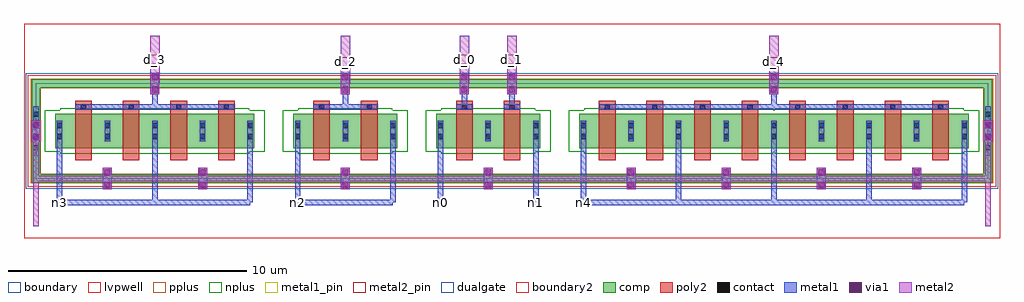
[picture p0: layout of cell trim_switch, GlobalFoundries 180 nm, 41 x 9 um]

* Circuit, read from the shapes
.subckt trim_switch d_0 d_1 d_2 d_3 d_4 n0 n1 n2 n3 n4
XM1 n5 d_3 n3 VSUBS nfet_06v0 w=1.44u l=0.7u m=2
XM2 n6 d_3 n3 VSUBS nfet_06v0 w=1.44u l=0.7u m=2
XM3 n7 d_2 n2 VSUBS nfet_06v0 w=1.44u l=0.7u m=2
XM4 n8 d_0 n0 VSUBS nfet_06v0 w=1.44u l=0.7u
XM5 n1 d_1 n8 VSUBS nfet_06v0 w=1.44u l=0.7u
XM6 n9 d_4 n4 VSUBS nfet_06v0 w=1.44u l=0.7u m=2
XM7 n10 d_4 n4 VSUBS nfet_06v0 w=1.44u l=0.7u m=2
XM8 n11 d_4 n4 VSUBS nfet_06v0 w=1.44u l=0.7u m=2
XM9 n12 d_4 n4 VSUBS nfet_06v0 w=1.44u l=0.7u m=2
.ends

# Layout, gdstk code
import gdstk
lib = gdstk.Library(unit=1e-6, precision=1e-09)
def R(c, l, rs):  # rectangles x0, y0, x1, y1
    for r in rs: c.add(gdstk.rectangle(r[:2], r[2:], *l))
def A(c, l, x, y, w, h, nx, ny, dx, dy):  # array of equal rectangles
    R(c, l, [(x+i*dx, y+j*dy, x+i*dx+w, y+j*dy+h) for i in range(nx) for j in range(ny)])
boundary = (0, 0)
comp = (22, 0)
poly2 = (30, 0)
pplus = (31, 0)
nplus = (32, 0)
contact = (33, 0)
metal1 = (34, 0)
metal1_pin = (34, 10)
via1 = (35, 0)
metal2 = (36, 0)
metal2_pin = (36, 10)
dualgate = (55, 0)
boundary2 = (63, 0)
lvpwell = (204, 0)

xm0_trims = lib.new_cell('XM0_trims')
R(xm0_trims, boundary, [(-2,-2,2,2)])
R(xm0_trims, comp, [(-2.18,-2.18,2.18,-1.82), (-1.18,-0.72,1.18,0.72), (-2.18,1.82,2.18,2.18)])
R(xm0_trims, poly2, [(-0.35,-1.279,0.35,1.235)])
R(xm0_trims, pplus, [(-2.21,-2.2,2.21,-1.8), (-2.21,1.8,2.21,2.2)])
R(xm0_trims, nplus, [(-0.97,-0.95,1,-0.88), (-1.62,-0.88,1.62,0.88), (-0.97,0.88,1,0.95)])
R(xm0_trims, contact, [(-0.11,-1.11,0.11,-0.89), (-1.11,-0.345,-0.89,-0.125), (0.89,-0.345,1.11,-0.125), (-1.11,0.125,-0.89,0.345), (0.89,0.125,1.11,0.345)])
R(xm0_trims, metal1, [(-0.34,-1.115,0.34,-0.885), (-1.115,-0.435,-0.885,0.435), (0.885,-0.435,1.115,0.435)])
R(xm0_trims, dualgate, [(-2.42,-2.42,2.42,2.42)])
A(xm0_trims, boundary2, -2.5, -2.5, 1, 1, 5, 5, 1, 1)
R(xm0_trims, lvpwell, [(-2.34,-2.34,2.34,2.34)])

xm1_trims = lib.new_cell('XM1_trims')
R(xm1_trims, boundary, [(-10,-2,-6,2)])
R(xm1_trims, comp, [(-10.18,-2.18,-5.82,-1.82), (-9.18,-0.72,-6.82,0.72), (-10.18,1.82,-5.82,2.18)])
R(xm1_trims, poly2, [(-8.35,-1.279,-7.65,1.235)])
R(xm1_trims, pplus, [(-10.21,-2.2,-5.79,-1.8), (-10.21,1.8,-5.79,2.2)])
R(xm1_trims, nplus, [(-9,-0.95,-7.03,-0.88), (-9.62,-0.88,-6.38,0.88), (-9,0.88,-7.03,0.95)])
R(xm1_trims, contact, [(-8.11,-1.11,-7.89,-0.89), (-9.11,-0.345,-8.89,-0.125), (-7.11,-0.345,-6.89,-0.125), (-9.11,0.125,-8.89,0.345), (-7.11,0.125,-6.89,0.345)])
R(xm1_trims, metal1, [(-8.34,-1.115,-7.66,-0.885), (-9.115,-0.435,-8.885,0.435), (-7.115,-0.435,-6.885,0.435)])
R(xm1_trims, dualgate, [(-10.42,-2.42,-5.58,2.42)])
A(xm1_trims, boundary2, -10.5, -2.5, 1, 1, 5, 5, 1, 1)
R(xm1_trims, lvpwell, [(-10.34,-2.34,-5.66,2.34)])

xm2_trims = lib.new_cell('XM2_trims')
R(xm2_trims, boundary, [(-3,-2,1,2), (-1,-2,3,2)])
R(xm2_trims, comp, [(-3.18,-2.18,1.18,-1.82), (-1.18,-2.18,3.18,-1.82), (-2.18,-0.72,0.18,0.72), (-0.18,-0.72,2.18,0.72), (-3.18,1.82,1.18,2.18), (-1.18,1.82,3.18,2.18)])
R(xm2_trims, poly2, [(-1.35,-1.279,-0.65,1.235), (0.65,-1.279,1.35,1.235)])
R(xm2_trims, pplus, [(-3.21,-2.2,1.21,-1.8), (-1.21,-2.2,3.21,-1.8), (-3.21,1.8,1.21,2.2), (-1.21,1.8,3.21,2.2)])
R(xm2_trims, nplus, [(-1.97,-0.95,0,-0.88), (0,-0.95,1.97,-0.88), (-2.62,-0.88,0.62,0.88), (-0.62,-0.88,2.62,0.88), (-1.97,0.88,0,0.95), (0,0.88,1.97,0.95)])
R(xm2_trims, contact, [(-1.11,-1.11,-0.89,-0.89), (0.89,-1.11,1.11,-0.89), (-2.11,-0.345,-1.89,-0.125), (-0.11,-0.345,0.11,-0.125), (-0.11,-0.345,0.11,-0.125), (1.89,-0.345,2.11,-0.125), (-2.11,0.125,-1.89,0.345), (-0.11,0.125,0.11,0.345), (-0.11,0.125,0.11,0.345), (1.89,0.125,2.11,0.345)])
R(xm2_trims, metal1, [(-1.34,-1.115,-0.66,-0.885), (0.66,-1.115,1.34,-0.885), (-2.115,-0.435,-1.885,0.435), (-0.115,-0.435,0.115,0.435), (-0.115,-0.435,0.115,0.435), (1.885,-0.435,2.115,0.435)])
R(xm2_trims, dualgate, [(-3.42,-2.42,1.42,2.42), (-1.42,-2.42,3.42,2.42)])
A(xm2_trims, boundary2, -3.5, -2.5, 1, 1, 3, 5, 1, 1)
A(xm2_trims, boundary2, -1.5, -2.5, 1, 1, 1, 5, 0, 1)
A(xm2_trims, boundary2, -0.5, -2.5, 1, 1, 1, 5, 0, 1)
A(xm2_trims, boundary2, -0.5, -2.5, 1, 1, 4, 5, 1, 1)
R(xm2_trims, lvpwell, [(-3.34,-2.34,1.34,2.34), (-1.34,-2.34,3.34,2.34)])

xm3_trims = lib.new_cell('XM3_trims')
A(xm3_trims, boundary, -6, -2, 4, 4, 4, 1, 2, 0)
A(xm3_trims, comp, -6.18, -2.18, 4.36, 0.36, 4, 2, 2, 4)
A(xm3_trims, comp, -5.18, -0.72, 2.36, 1.44, 4, 1, 2, 0)
R(xm3_trims, comp, [(-6.18,-1.82,-5.82,1.82)])
A(xm3_trims, poly2, -4.35, -1.279, 0.7, 2.514, 4, 1, 2, 0)
A(xm3_trims, pplus, -6.21, -2.2, 4.42, 0.4, 4, 2, 2, 4)
R(xm3_trims, pplus, [(-6.21,-1.8,-5.79,1.8)])
A(xm3_trims, nplus, -5.62, -0.88, 3.24, 1.76, 4, 1, 2, 0)
R(xm3_trims, nplus, [(-4.97,-0.95,-3,-0.88), (-3,-0.95,-1,-0.88), (-1,-0.95,1,-0.88), (1,-0.95,2.97,-0.88), (-4.97,0.88,-3,0.95), (-3,0.88,-1,0.95), (-1,0.88,1,0.95), (1,0.88,2.97,0.95)])
A(xm3_trims, contact, -4.11, -1.11, 0.22, 0.22, 4, 1, 2, 0)
A(xm3_trims, contact, -6.11, -0.815, 0.22, 0.22, 1, 4, 0, 0.47)
R(xm3_trims, contact, [(-5.11,-0.345,-4.89,-0.125), (-3.11,-0.345,-2.89,-0.125), (-3.11,-0.345,-2.89,-0.125), (-1.11,-0.345,-0.89,-0.125), (-1.11,-0.345,-0.89,-0.125), (0.89,-0.345,1.11,-0.125), (0.89,-0.345,1.11,-0.125), (2.89,-0.345,3.11,-0.125), (-5.11,0.125,-4.89,0.345), (-3.11,0.125,-2.89,0.345), (-3.11,0.125,-2.89,0.345), (-1.11,0.125,-0.89,0.345), (-1.11,0.125,-0.89,0.345), (0.89,0.125,1.11,0.345), (0.89,0.125,1.11,0.345), (2.89,0.125,3.11,0.345)])
A(xm3_trims, metal1, -4.34, -1.115, 0.68, 0.23, 4, 1, 2, 0)
R(xm3_trims, metal1, [(-6.115,-1.04,-5.885,1.04), (-5.115,-0.435,-4.885,0.435), (-3.115,-0.435,-2.885,0.435), (-3.115,-0.435,-2.885,0.435), (-1.115,-0.435,-0.885,0.435), (-1.115,-0.435,-0.885,0.435), (0.885,-0.435,1.115,0.435), (0.885,-0.435,1.115,0.435), (2.885,-0.435,3.115,0.435)])
A(xm3_trims, dualgate, -6.42, -2.42, 4.84, 4.84, 4, 1, 2, 0)
A(xm3_trims, boundary2, -6.5, -2.5, 1, 1, 3, 5, 1, 1)
A(xm3_trims, boundary2, -4.5, -2.5, 1, 1, 1, 5, 0, 1)
A(xm3_trims, boundary2, -3.5, -2.5, 1, 1, 1, 5, 0, 1)
A(xm3_trims, boundary2, -3.5, -2.5, 1, 1, 3, 5, 1, 1)
A(xm3_trims, boundary2, -1.5, -2.5, 1, 1, 1, 5, 0, 1)
A(xm3_trims, boundary2, 0.5, -2.5, 1, 1, 1, 5, 0, 1)
A(xm3_trims, boundary2, 0.5, -2.5, 1, 1, 4, 5, 1, 1)
R(xm3_trims, boundary2, [(-0.5,-2.5,0.5,-1.5), (-0.5,-2.5,0.5,-1.5), (-0.5,-1.5,0.5,-0.5), (-0.5,-1.5,0.5,-0.5), (-0.5,-0.5,0.5,0.5), (-0.5,-0.5,0.5,0.5), (-0.5,0.5,0.5,1.5), (-0.5,0.5,0.5,1.5), (-0.5,1.5,0.5,2.5), (-0.5,1.5,0.5,2.5)])
A(xm3_trims, lvpwell, -6.34, -2.34, 4.68, 4.68, 4, 1, 2, 0)

xm4_trims = lib.new_cell('XM4_trims')
A(xm4_trims, boundary, -9, -2, 4, 4, 8, 1, 2, 0)
A(xm4_trims, comp, -9.18, -2.18, 4.36, 0.36, 8, 2, 2, 4)
A(xm4_trims, comp, -8.18, -0.72, 2.36, 1.44, 8, 1, 2, 0)
R(xm4_trims, comp, [(8.82,-1.82,9.18,1.82)])
A(xm4_trims, poly2, -7.35, -1.279, 0.7, 2.514, 8, 1, 2, 0)
A(xm4_trims, pplus, -9.21, -2.2, 4.42, 0.4, 8, 2, 2, 4)
R(xm4_trims, pplus, [(8.79,-1.8,9.21,1.8)])
A(xm4_trims, nplus, -8.62, -0.88, 3.24, 1.76, 8, 1, 2, 0)
R(xm4_trims, nplus, [(-7.97,-0.95,-6,-0.88), (-6,-0.95,-4,-0.88), (-4,-0.95,-2,-0.88), (-2,-0.95,-0.03,-0.88), (0.03,-0.95,2,-0.88), (2,-0.95,4,-0.88), (4,-0.95,6,-0.88), (6,-0.95,7.97,-0.88), (-7.97,0.88,-6,0.95), (-6,0.88,-4,0.95), (-4,0.88,-2,0.95), (-2,0.88,-0.03,0.95), (0.03,0.88,2,0.95), (2,0.88,4,0.95), (4,0.88,6,0.95), (6,0.88,7.97,0.95)])
A(xm4_trims, contact, -7.11, -1.11, 0.22, 0.22, 8, 1, 2, 0)
A(xm4_trims, contact, 8.89, -0.815, 0.22, 0.22, 1, 4, 0, 0.47)
R(xm4_trims, contact, [(-8.11,-0.345,-7.89,-0.125), (-6.11,-0.345,-5.89,-0.125), (-6.11,-0.345,-5.89,-0.125), (-4.11,-0.345,-3.89,-0.125), (-4.11,-0.345,-3.89,-0.125), (-2.11,-0.345,-1.89,-0.125), (-2.11,-0.345,-1.89,-0.125), (-0.11,-0.345,0.11,-0.125), (-0.11,-0.345,0.11,-0.125), (1.89,-0.345,2.11,-0.125), (1.89,-0.345,2.11,-0.125), (3.89,-0.345,4.11,-0.125), (3.89,-0.345,4.11,-0.125), (5.89,-0.345,6.11,-0.125), (5.89,-0.345,6.11,-0.125), (7.89,-0.345,8.11,-0.125), (-8.11,0.125,-7.89,0.345), (-6.11,0.125,-5.89,0.345), (-6.11,0.125,-5.89,0.345), (-4.11,0.125,-3.89,0.345), (-4.11,0.125,-3.89,0.345), (-2.11,0.125,-1.89,0.345), (-2.11,0.125,-1.89,0.345), (-0.11,0.125,0.11,0.345), (-0.11,0.125,0.11,0.345), (1.89,0.125,2.11,0.345), (1.89,0.125,2.11,0.345), (3.89,0.125,4.11,0.345), (3.89,0.125,4.11,0.345), (5.89,0.125,6.11,0.345), (5.89,0.125,6.11,0.345), (7.89,0.125,8.11,0.345)])
A(xm4_trims, metal1, -7.34, -1.115, 0.68, 0.23, 8, 1, 2, 0)
R(xm4_trims, metal1, [(8.885,-1.04,9.115,1.04), (-8.115,-0.435,-7.885,0.435), (-6.115,-0.435,-5.885,0.435), (-6.115,-0.435,-5.885,0.435), (-4.115,-0.435,-3.885,0.435), (-4.115,-0.435,-3.885,0.435), (-2.115,-0.435,-1.885,0.435), (-2.115,-0.435,-1.885,0.435), (-0.115,-0.435,0.115,0.435), (-0.115,-0.435,0.115,0.435), (1.885,-0.435,2.115,0.435), (1.885,-0.435,2.115,0.435), (3.885,-0.435,4.115,0.435), (3.885,-0.435,4.115,0.435), (5.885,-0.435,6.115,0.435), (5.885,-0.435,6.115,0.435), (7.885,-0.435,8.115,0.435)])
A(xm4_trims, dualgate, -9.42, -2.42, 4.84, 4.84, 8, 1, 2, 0)
A(xm4_trims, boundary2, -9.5, -2.5, 1, 1, 3, 5, 1, 1)
A(xm4_trims, boundary2, -7.5, -2.5, 1, 1, 1, 5, 0, 1)
A(xm4_trims, boundary2, -6.5, -2.5, 1, 1, 1, 5, 0, 1)
A(xm4_trims, boundary2, -6.5, -2.5, 1, 1, 3, 5, 1, 1)
A(xm4_trims, boundary2, -4.5, -2.5, 1, 1, 1, 5, 0, 1)
A(xm4_trims, boundary2, 1.5, -2.5, 1, 1, 1, 5, 0, 1)
A(xm4_trims, boundary2, 1.5, -2.5, 1, 1, 3, 5, 1, 1)
A(xm4_trims, boundary2, 3.5, -2.5, 1, 1, 1, 5, 0, 1)
A(xm4_trims, boundary2, 5.5, -2.5, 1, 1, 1, 5, 0, 1)
A(xm4_trims, boundary2, 5.5, -2.5, 1, 1, 4, 5, 1, 1)
R(xm4_trims, boundary2, [(-3.5,-2.5,-2.5,-1.5), (-3.5,-2.5,-2.5,-1.5), (-2.5,-2.5,-1.5,-1.5), (-2.5,-2.5,-1.5,-1.5), (-1.5,-2.5,-0.5,-1.5), (-1.5,-2.5,-0.5,-1.5), (-0.5,-2.5,0.5,-1.5), (-0.5,-2.5,0.5,-1.5), (0.5,-2.5,1.5,-1.5), (0.5,-2.5,1.5,-1.5), (0.5,-2.5,1.5,-1.5), (4.5,-2.5,5.5,-1.5), (4.5,-2.5,5.5,-1.5), (-3.5,-1.5,-2.5,-0.5), (-3.5,-1.5,-2.5,-0.5), (-2.5,-1.5,-1.5,-0.5), (-2.5,-1.5,-1.5,-0.5), (-1.5,-1.5,-0.5,-0.5), (-1.5,-1.5,-0.5,-0.5), (-0.5,-1.5,0.5,-0.5), (-0.5,-1.5,0.5,-0.5), (0.5,-1.5,1.5,-0.5), (0.5,-1.5,1.5,-0.5), (0.5,-1.5,1.5,-0.5), (4.5,-1.5,5.5,-0.5), (4.5,-1.5,5.5,-0.5), (-3.5,-0.5,-2.5,0.5), (-3.5,-0.5,-2.5,0.5), (-2.5,-0.5,-1.5,0.5), (-2.5,-0.5,-1.5,0.5), (-1.5,-0.5,-0.5,0.5), (-1.5,-0.5,-0.5,0.5), (-0.5,-0.5,0.5,0.5), (-0.5,-0.5,0.5,0.5), (0.5,-0.5,1.5,0.5), (0.5,-0.5,1.5,0.5), (0.5,-0.5,1.5,0.5), (4.5,-0.5,5.5,0.5), (4.5,-0.5,5.5,0.5), (-3.5,0.5,-2.5,1.5), (-3.5,0.5,-2.5,1.5), (-2.5,0.5,-1.5,1.5), (-2.5,0.5,-1.5,1.5), (-1.5,0.5,-0.5,1.5), (-1.5,0.5,-0.5,1.5), (-0.5,0.5,0.5,1.5), (-0.5,0.5,0.5,1.5), (0.5,0.5,1.5,1.5), (0.5,0.5,1.5,1.5), (0.5,0.5,1.5,1.5), (4.5,0.5,5.5,1.5), (4.5,0.5,5.5,1.5), (-3.5,1.5,-2.5,2.5), (-3.5,1.5,-2.5,2.5), (-2.5,1.5,-1.5,2.5), (-2.5,1.5,-1.5,2.5), (-1.5,1.5,-0.5,2.5), (-1.5,1.5,-0.5,2.5), (-0.5,1.5,0.5,2.5), (-0.5,1.5,0.5,2.5), (0.5,1.5,1.5,2.5), (0.5,1.5,1.5,2.5), (0.5,1.5,1.5,2.5), (4.5,1.5,5.5,2.5), (4.5,1.5,5.5,2.5)])
A(xm4_trims, lvpwell, -9.34, -2.34, 4.68, 4.68, 8, 1, 2, 0)

trim_switch = lib.new_cell('trim_switch')
A(trim_switch, metal1, -0.19, -2.45, 0.38, 0.9, 4, 1, 6, 0)
A(trim_switch, metal1, 21.81, -2.45, 0.38, 0.9, 3, 1, 4, 0)
R(trim_switch, metal1, [(-4.19,-2.45,-3.81,-1.55), (-7.19,-0.45,-6.81,0.45), (32.81,-0.45,33.19,0.45), (-2.19,1.55,-1.81,2.45), (5.81,1.55,6.19,2.45), (10.81,1.55,11.19,2.45), (12.81,1.55,13.19,2.45), (23.81,1.55,24.19,2.45)])
R(trim_switch, metal1_pin, [(-6.115,-3.115,-5.885,-2.885), (3.885,-3.115,4.115,-2.885), (9.885,-3.115,10.115,-2.885), (13.885,-3.115,14.115,-2.885), (15.885,-3.115,16.115,-2.885)])
A(trim_switch, via1, -0.13, -2.39, 0.26, 0.26, 4, 2, 6, 0.52)
A(trim_switch, via1, 21.87, -2.39, 0.26, 0.26, 3, 2, 4, 0.52)
R(trim_switch, via1, [(-4.13,-2.39,-3.87,-2.13), (-4.13,-1.87,-3.87,-1.61), (-7.13,-0.39,-6.87,-0.13), (32.87,-0.39,33.13,-0.13), (-7.13,0.13,-6.87,0.39), (32.87,0.13,33.13,0.39), (-2.13,1.61,-1.87,1.87), (5.87,1.61,6.13,1.87), (10.87,1.61,11.13,1.87), (12.87,1.61,13.13,1.87), (23.87,1.61,24.13,1.87), (-2.13,2.13,-1.87,2.39), (5.87,2.13,6.13,2.39), (10.87,2.13,11.13,2.39), (12.87,2.13,13.13,2.39), (23.87,2.13,24.13,2.39)])
A(trim_switch, metal2, -0.19, -2.45, 0.38, 0.9, 4, 1, 6, 0)
A(trim_switch, metal2, 21.81, -2.45, 0.38, 0.9, 3, 1, 4, 0)
R(trim_switch, metal2, [(-4.19,-2.45,-3.81,-1.55), (-7.19,-0.45,-6.81,0.45), (32.81,-0.45,33.19,0.45), (-2.19,1.55,-1.81,2.45), (5.81,1.55,6.19,2.45), (10.81,1.55,11.19,2.45), (12.81,1.55,13.19,2.45), (23.81,1.55,24.19,2.45)])
R(trim_switch, metal2_pin, [(5.8,2.7,6.2,3.1), (23.8,2.7,24.2,3.1), (-2.2,2.8,-1.8,3.2), (10.8,2.8,11.2,3.2), (12.8,2.8,13.2,3.2)])
A(trim_switch, boundary2, -7.5, -4.5, 1, 1, 3, 2, 1, 1)
A(trim_switch, boundary2, -4.5, -4.5, 1, 1, 3, 2, 1, 1)
A(trim_switch, boundary2, -0.5, -4.5, 1, 1, 4, 2, 1, 1)
A(trim_switch, boundary2, 2.5, -4.5, 1, 1, 3, 2, 1, 1)
A(trim_switch, boundary2, 5.5, -4.5, 1, 1, 4, 2, 1, 1)
A(trim_switch, boundary2, 8.5, -4.5, 1, 1, 3, 2, 1, 1)
A(trim_switch, boundary2, 12.5, -4.5, 1, 1, 3, 2, 1, 1)
A(trim_switch, boundary2, 14.5, -4.5, 1, 1, 3, 2, 1, 1)
A(trim_switch, boundary2, 17.5, -4.5, 1, 1, 3, 2, 1, 1)
A(trim_switch, boundary2, 25.5, -4.5, 1, 1, 3, 2, 1, 1)
A(trim_switch, boundary2, 29.5, -4.5, 1, 1, 4, 2, 1, 1)
A(trim_switch, boundary2, -7.5, 2.5, 1, 1, 3, 2, 1, 1)
A(trim_switch, boundary2, -4.5, 2.5, 1, 1, 3, 2, 1, 1)
A(trim_switch, boundary2, -0.5, 2.5, 1, 1, 4, 2, 1, 1)
A(trim_switch, boundary2, 2.5, 2.5, 1, 1, 3, 2, 1, 1)
A(trim_switch, boundary2, 5.5, 2.5, 1, 1, 4, 2, 1, 1)
A(trim_switch, boundary2, 8.5, 2.5, 1, 1, 3, 2, 1, 1)
A(trim_switch, boundary2, 12.5, 2.5, 1, 1, 3, 2, 1, 1)
A(trim_switch, boundary2, 14.5, 2.5, 1, 1, 3, 2, 1, 1)
A(trim_switch, boundary2, 17.5, 2.5, 1, 1, 3, 2, 1, 1)
A(trim_switch, boundary2, 25.5, 2.5, 1, 1, 3, 2, 1, 1)
A(trim_switch, boundary2, 29.5, 2.5, 1, 1, 4, 2, 1, 1)
R(trim_switch, boundary2, [(-5.5,-4.5,-4.5,-3.5), (-4.5,-4.5,-3.5,-3.5), (-2.5,-4.5,-1.5,-3.5), (-1.5,-4.5,-0.5,-3.5), (-1.5,-4.5,-0.5,-3.5), (-0.5,-4.5,0.5,-3.5), (4.5,-4.5,5.5,-3.5), (5.5,-4.5,6.5,-3.5), (10.5,-4.5,11.5,-3.5), (11.5,-4.5,12.5,-3.5), (11.5,-4.5,12.5,-3.5), (12.5,-4.5,13.5,-3.5), (16.5,-4.5,17.5,-3.5), (17.5,-4.5,18.5,-3.5), (19.5,-4.5,20.5,-3.5), (20.5,-4.5,21.5,-3.5), (20.5,-4.5,21.5,-3.5), (21.5,-4.5,22.5,-3.5), (21.5,-4.5,22.5,-3.5), (22.5,-4.5,23.5,-3.5), (22.5,-4.5,23.5,-3.5), (23.5,-4.5,24.5,-3.5), (23.5,-4.5,24.5,-3.5), (24.5,-4.5,25.5,-3.5), (24.5,-4.5,25.5,-3.5), (24.5,-4.5,25.5,-3.5), (25.5,-4.5,26.5,-3.5), (27.5,-4.5,28.5,-3.5), (28.5,-4.5,29.5,-3.5), (28.5,-4.5,29.5,-3.5), (29.5,-4.5,30.5,-3.5), (-5.5,-3.5,-4.5,-2.5), (-4.5,-3.5,-3.5,-2.5), (-2.5,-3.5,-1.5,-2.5), (-1.5,-3.5,-0.5,-2.5), (-1.5,-3.5,-0.5,-2.5), (-0.5,-3.5,0.5,-2.5), (4.5,-3.5,5.5,-2.5), (5.5,-3.5,6.5,-2.5), (10.5,-3.5,11.5,-2.5), (11.5,-3.5,12.5,-2.5), (11.5,-3.5,12.5,-2.5), (12.5,-3.5,13.5,-2.5), (16.5,-3.5,17.5,-2.5), (17.5,-3.5,18.5,-2.5), (19.5,-3.5,20.5,-2.5), (20.5,-3.5,21.5,-2.5), (20.5,-3.5,21.5,-2.5), (21.5,-3.5,22.5,-2.5), (21.5,-3.5,22.5,-2.5), (22.5,-3.5,23.5,-2.5), (22.5,-3.5,23.5,-2.5), (23.5,-3.5,24.5,-2.5), (23.5,-3.5,24.5,-2.5), (24.5,-3.5,25.5,-2.5), (24.5,-3.5,25.5,-2.5), (24.5,-3.5,25.5,-2.5), (25.5,-3.5,26.5,-2.5), (27.5,-3.5,28.5,-2.5), (28.5,-3.5,29.5,-2.5), (28.5,-3.5,29.5,-2.5), (29.5,-3.5,30.5,-2.5), (-5.5,2.5,-4.5,3.5), (-4.5,2.5,-3.5,3.5), (-2.5,2.5,-1.5,3.5), (-1.5,2.5,-0.5,3.5), (-1.5,2.5,-0.5,3.5), (-0.5,2.5,0.5,3.5), (4.5,2.5,5.5,3.5), (5.5,2.5,6.5,3.5), (10.5,2.5,11.5,3.5), (11.5,2.5,12.5,3.5), (11.5,2.5,12.5,3.5), (12.5,2.5,13.5,3.5), (16.5,2.5,17.5,3.5), (17.5,2.5,18.5,3.5), (19.5,2.5,20.5,3.5), (20.5,2.5,21.5,3.5), (20.5,2.5,21.5,3.5), (21.5,2.5,22.5,3.5), (21.5,2.5,22.5,3.5), (22.5,2.5,23.5,3.5), (22.5,2.5,23.5,3.5), (23.5,2.5,24.5,3.5), (23.5,2.5,24.5,3.5), (24.5,2.5,25.5,3.5), (24.5,2.5,25.5,3.5), (24.5,2.5,25.5,3.5), (25.5,2.5,26.5,3.5), (27.5,2.5,28.5,3.5), (28.5,2.5,29.5,3.5), (28.5,2.5,29.5,3.5), (29.5,2.5,30.5,3.5), (-5.5,3.5,-4.5,4.5), (-4.5,3.5,-3.5,4.5), (-2.5,3.5,-1.5,4.5), (-1.5,3.5,-0.5,4.5), (-1.5,3.5,-0.5,4.5), (-0.5,3.5,0.5,4.5), (4.5,3.5,5.5,4.5), (5.5,3.5,6.5,4.5), (10.5,3.5,11.5,4.5), (11.5,3.5,12.5,4.5), (11.5,3.5,12.5,4.5), (12.5,3.5,13.5,4.5), (16.5,3.5,17.5,4.5), (17.5,3.5,18.5,4.5), (19.5,3.5,20.5,4.5), (20.5,3.5,21.5,4.5), (20.5,3.5,21.5,4.5), (21.5,3.5,22.5,4.5), (21.5,3.5,22.5,4.5), (22.5,3.5,23.5,4.5), (22.5,3.5,23.5,4.5), (23.5,3.5,24.5,4.5), (23.5,3.5,24.5,4.5), (24.5,3.5,25.5,4.5), (24.5,3.5,25.5,4.5), (24.5,3.5,25.5,4.5), (25.5,3.5,26.5,4.5), (27.5,3.5,28.5,4.5), (28.5,3.5,29.5,4.5), (28.5,3.5,29.5,4.5), (29.5,3.5,30.5,4.5)])
trim_switch.add(gdstk.FlexPath([(-5,1),(1,1)], 0.23, ends="flush", simple_path=True, layer=34, datatype=0))  # metal1
trim_switch.add(gdstk.FlexPath([(5,1),(7,1)], 0.23, ends="flush", simple_path=True, layer=34, datatype=0))  # metal1
trim_switch.add(gdstk.FlexPath([(17,1),(31,1)], 0.23, ends="flush", simple_path=True, layer=34, datatype=0))  # metal1
trim_switch.add(gdstk.FlexPath([(-2,2),(-2,1)], 0.23, ends="flush", simple_path=True, layer=34, datatype=0))  # metal1
trim_switch.add(gdstk.FlexPath([(6,2),(6,1)], 0.23, ends="flush", simple_path=True, layer=34, datatype=0))  # metal1
trim_switch.add(gdstk.FlexPath([(11,2),(11,1)], 0.23, ends="flush", simple_path=True, layer=34, datatype=0))  # metal1
trim_switch.add(gdstk.FlexPath([(13,2),(13,1)], 0.23, ends="flush", simple_path=True, layer=34, datatype=0))  # metal1
trim_switch.add(gdstk.FlexPath([(24,2),(24,1)], 0.23, ends="flush", simple_path=True, layer=34, datatype=0))  # metal1
trim_switch.add(gdstk.FlexPath([(-6,0),(-6,-3)], 0.23, ends="flush", simple_path=True, layer=34, datatype=0))  # metal1
trim_switch.add(gdstk.FlexPath([(-2,0),(-2,-3)], 0.23, ends="flush", simple_path=True, layer=34, datatype=0))  # metal1
trim_switch.add(gdstk.FlexPath([(2,0),(2,-3)], 0.23, ends="flush", simple_path=True, layer=34, datatype=0))  # metal1
trim_switch.add(gdstk.FlexPath([(4,0),(4,-3)], 0.23, ends="flush", simple_path=True, layer=34, datatype=0))  # metal1
trim_switch.add(gdstk.FlexPath([(8,0),(8,-3)], 0.23, ends="flush", simple_path=True, layer=34, datatype=0))  # metal1
trim_switch.add(gdstk.FlexPath([(10,0),(10,-3)], 0.23, ends="flush", simple_path=True, layer=34, datatype=0))  # metal1
trim_switch.add(gdstk.FlexPath([(14,0),(14,-3)], 0.23, ends="flush", simple_path=True, layer=34, datatype=0))  # metal1
trim_switch.add(gdstk.FlexPath([(16,0),(16,-3)], 0.23, ends="flush", simple_path=True, layer=34, datatype=0))  # metal1
trim_switch.add(gdstk.FlexPath([(20,0),(20,-3)], 0.23, ends="flush", simple_path=True, layer=34, datatype=0))  # metal1
trim_switch.add(gdstk.FlexPath([(24,0),(24,-3)], 0.23, ends="flush", simple_path=True, layer=34, datatype=0))  # metal1
trim_switch.add(gdstk.FlexPath([(32,0),(32,-3)], 0.23, ends="flush", simple_path=True, layer=34, datatype=0))  # metal1
trim_switch.add(gdstk.FlexPath([(28,0),(28,-3)], 0.23, ends="flush", simple_path=True, layer=34, datatype=0))  # metal1
trim_switch.add(gdstk.FlexPath([(-6,-3),(2,-3),(2,-3)], 0.23, ends="flush", simple_path=True, layer=34, datatype=0))  # metal1
trim_switch.add(gdstk.FlexPath([(4,-3),(8,-3),(8,-3)], 0.23, ends="flush", simple_path=True, layer=34, datatype=0))  # metal1
trim_switch.add(gdstk.FlexPath([(16,-3),(32,-3)], 0.23, ends="flush", simple_path=True, layer=34, datatype=0))  # metal1
trim_switch.add(gdstk.FlexPath([(-2,2),(-2,3)], 0.4, ends="flush", simple_path=True, layer=36, datatype=0))  # metal2
trim_switch.add(gdstk.FlexPath([(-2,2),(-2,4)], 0.4, ends="flush", simple_path=True, layer=36, datatype=0))  # metal2
trim_switch.add(gdstk.FlexPath([(6,2),(6,4)], 0.4, ends="flush", simple_path=True, layer=36, datatype=0))  # metal2
trim_switch.add(gdstk.FlexPath([(11,2),(11,4)], 0.4, ends="flush", simple_path=True, layer=36, datatype=0))  # metal2
trim_switch.add(gdstk.FlexPath([(13,2),(13,4)], 0.4, ends="flush", simple_path=True, layer=36, datatype=0))  # metal2
trim_switch.add(gdstk.FlexPath([(24,2),(24,4)], 0.4, ends="flush", simple_path=True, layer=36, datatype=0))  # metal2
trim_switch.add(gdstk.FlexPath([(-7,0),(-7,-4)], 0.23, ends="flush", simple_path=True, layer=36, datatype=0))  # metal2
trim_switch.add(gdstk.FlexPath([(33,0),(33,-4)], 0.23, ends="flush", simple_path=True, layer=36, datatype=0))  # metal2
trim_switch.add(gdstk.FlexPath([(33,-2),(-7,-2)], 0.23, ends="flush", simple_path=True, layer=36, datatype=0))  # metal2
trim_switch.add(gdstk.Reference(xm0_trims, (11,0), x_reflection=True))
trim_switch.add(gdstk.Reference(xm1_trims, (21,0), x_reflection=True))
trim_switch.add(gdstk.Reference(xm2_trims, (6,0), x_reflection=True))
trim_switch.add(gdstk.Reference(xm3_trims, (-1,0), x_reflection=True))
trim_switch.add(gdstk.Reference(xm4_trims, (24,0), x_reflection=True))
trim_switch.add(gdstk.Label('d_3', (-2.005,3.005), layer=36, texttype=10))
trim_switch.add(gdstk.Label('d_2', (5.995,2.905), layer=36, texttype=10))
trim_switch.add(gdstk.Label('d_0', (10.995,3.005), layer=36, texttype=10))
trim_switch.add(gdstk.Label('d_1', (12.995,3.005), layer=36, texttype=10))
trim_switch.add(gdstk.Label('d_4', (23.995,2.905), layer=36, texttype=10))
trim_switch.add(gdstk.Label('n3', (-6,-2.995), layer=34, texttype=10))
trim_switch.add(gdstk.Label('n2', (4,-2.995), layer=34, texttype=10))
trim_switch.add(gdstk.Label('n0', (10,-3), layer=34, texttype=10))
trim_switch.add(gdstk.Label('n1', (14,-3), layer=34, texttype=10))
trim_switch.add(gdstk.Label('n4', (16,-3), layer=34, texttype=10))

lib.write_gds('trim_switch.gds')
